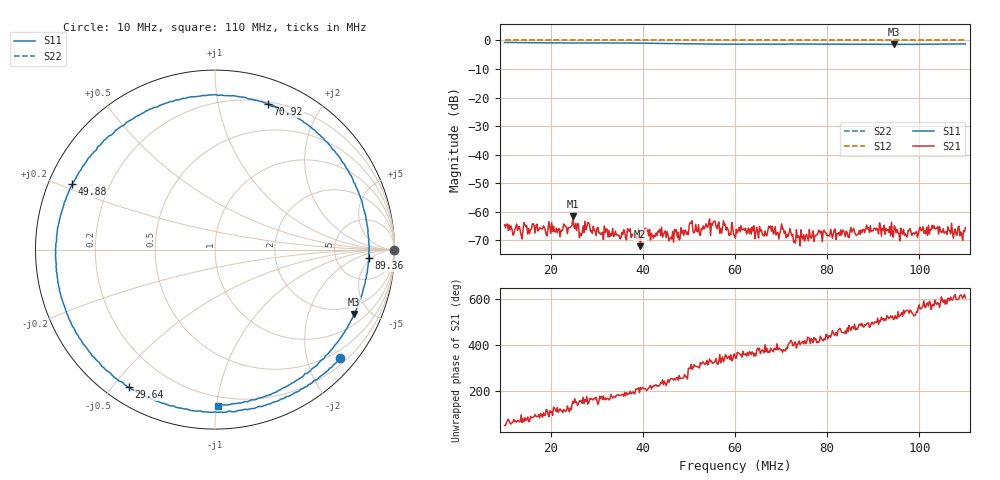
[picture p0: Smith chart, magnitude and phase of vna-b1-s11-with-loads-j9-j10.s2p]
! Anritsu VNA Master:  Model: MS2034B/10/19/501
! SN:  1337062
! /bd0/ovro-jan-2016/vna-jan/vna-b1-s11-with-loads-j9-j10.s2p
! Existing Calibration Information:
! TYPE:  Current Settings,  Active Cal Settings
! TIME:  01/13/2016 12:54:04 PM,  01/12/2016 05:57:47 PM
! INTERNAL TEMP:  44.3 C,  46.0 C
! # POINTS:  500,  500
! START FREQ:  10.000 MHz,  10.000 MHz
! STOP FREQ:  110.000 MHz,  110.000 MHz
! SOURCE POWER:  Low,  Low
! IFBW:  100 Hz,  1 kHz
! AVG FACTOR:  1 ,  3
! REF PLANE 1:  0 mm,  0 mm
! REF PLANE 2:  0 mm,  0 mm
! CAL TYPE:  1P2P S11,S21,  1P2P S11,S21
! CAL METHOD:  SOLT,  SOLT
! CAL LINE TYPE:  Coax,  Coax
! DUT PORT 1:  K-Conn(M),  K-Conn(M)
! DUT PORT 2:  N-Conn(M),  N-Conn(M)
! CAL STATUS:  OK: Accuracy High,  --
# GHZ S DB R 50.0
! FREQ.GHZ  S11DB  S11A  S21DB  S21A  S12DB  S12A  S22DB  S22A
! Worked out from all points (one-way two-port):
!   500 points, 10 MHz to 110 MHz, reference 50 ohm
!   highest |S21| = -61.63 dB at 24.83 MHz (marker M1); lowest = -72.1 dB at 39.46 MHz (marker M2)
!   lowest |S11| = -1.4 dB at 94.57 MHz (marker M3), VSWR 12.61, Z = 75.6 - j199 ohm
!   |S11| at or under -10 dB: nowhere
!   |S22| runs from 0.0 to 0.0 dB; largest |S21 - S12| = 1
!   S11 on the Smith chart (normalised r, x): 10 MHz: 0.32, -2.65; 29.64 MHz: 0.07, -0.55; 49.88 MHz: 0.07, +0.22; 70.92 MHz: 0.22, +1.41; 89.36 MHz: 12, -4; 110 MHz: 0.14, -1.01
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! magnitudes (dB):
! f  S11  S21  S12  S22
! 10 MHz  -0.7  -64.5  0.0  0.0
! 13.61 MHz  -0.7  -68.4  0.0  0.0
! 14.41 MHz  -0.8  -64.5  0.0  0.0
! 21.82 MHz  -0.9  -66.0  0.0  0.0
! 24.83 MHz  -0.9  -61.6  0.0  0.0
! 26.83 MHz  -0.9  -67.4  0.0  0.0
! 27.84 MHz  -0.8  -65.5  0.0  0.0
! 29.64 MHz  -0.9  -66.8  0.0  0.0
! 39.46 MHz  -0.9  -72.1  0.0  0.0
! 43.47 MHz  -1.0  -67.1  0.0  0.0
! 45.87 MHz  -1.1  -69.4  0.0  0.0
! 49.88 MHz  -1.2  -68.1  0.0  0.0
! 55.29 MHz  -1.2  -63.6  0.0  0.0
! 60.1 MHz  -1.3  -69.3  0.0  0.0
! 66.51 MHz  -1.3  -66.7  0.0  0.0
! 67.72 MHz  -1.3  -65.0  0.0  0.0
! 70.92 MHz  -1.3  -66.8  0.0  0.0
! 76.73 MHz  -1.3  -68.3  0.0  0.0
! 89.36 MHz  -1.3  -64.9  0.0  0.0
! 93.37 MHz  -1.3  -67.2  0.0  0.0
! 94.57 MHz  -1.4  -65.0  0.0  0.0
! 110 MHz  -1.2  -65.6  0.0  0.0
